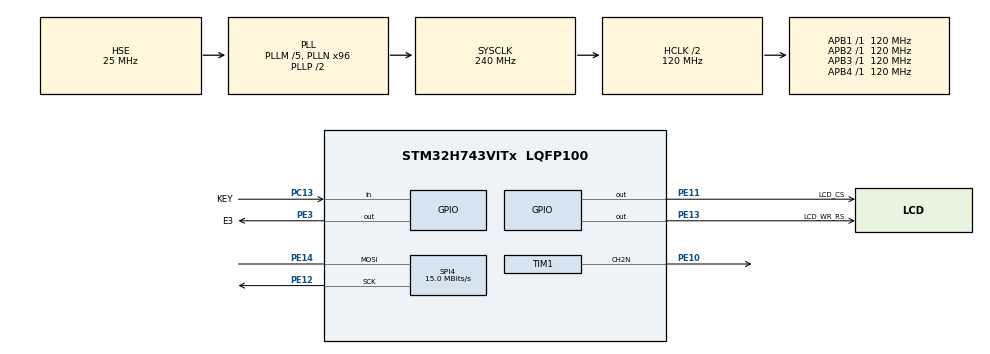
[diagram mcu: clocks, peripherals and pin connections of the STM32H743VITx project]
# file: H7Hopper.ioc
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Mcu.Family=STM32H7
Mcu.Name=STM32H743VITx
Mcu.Package=LQFP100
NVIC.PriorityGroup=NVIC_PRIORITYGROUP_4
PA13\ (JTMS/SWDIO).Mode=Serial_Wire
PA13\ (JTMS/SWDIO).Signal=DEBUG_JTMS-SWDIO
PA14\ (JTCK/SWCLK).Mode=Serial_Wire
PA14\ (JTCK/SWCLK).Signal=DEBUG_JTCK-SWCLK
PC13.GPIO_Label=KEY
PC13.GPIO_PuPd=GPIO_PULLDOWN
PC13.Signal=GPIO_Input
PC14-OSC32_IN\ (OSC32_IN).Mode=LSE-External-Oscillator
PC14-OSC32_IN\ (OSC32_IN).Signal=RCC_OSC32_IN
PC15-OSC32_OUT\ (OSC32_OUT).Mode=LSE-External-Oscillator
PC15-OSC32_OUT\ (OSC32_OUT).Signal=RCC_OSC32_OUT
PE10.Mode=PWM Generation2 CH2N
PE10.Signal=TIM1_CH2N
PE11.GPIO_Label=LCD_CS
PE11.GPIO_Speed=GPIO_SPEED_FREQ_VERY_HIGH
PE11.PinState=GPIO_PIN_SET
PE11.Signal=GPIO_Output
PE12.GPIO_Speed=GPIO_SPEED_FREQ_HIGH
PE12.Mode=Simplex_Bidirectional_Master
PE12.Signal=SPI4_SCK
PE13.GPIO_Label=LCD_WR_RS
PE13.GPIO_Speed=GPIO_SPEED_FREQ_VERY_HIGH
PE13.PinState=GPIO_PIN_SET
PE13.Signal=GPIO_Output
PE14.GPIO_Speed=GPIO_SPEED_FREQ_HIGH
PE14.Mode=Simplex_Bidirectional_Master
PE14.Signal=SPI4_MOSI
PE3.GPIO_Label=E3
PE3.PinState=GPIO_PIN_RESET
PE3.Signal=GPIO_Output
PH0-OSC_IN\ (PH0).Mode=HSE-External-Oscillator
PH0-OSC_IN\ (PH0).Signal=RCC_OSC_IN
PH1-OSC_OUT\ (PH1).Mode=HSE-External-Oscillator
PH1-OSC_OUT\ (PH1).Signal=RCC_OSC_OUT
ProjectManager.HeapSize=0x200
ProjectManager.StackSize=0x400
ProjectManager.TargetToolchain=STM32CubeIDE
RCC.ADCFreq_Value=83333333.33333333
RCC.APB1Freq_Value=120000000
RCC.APB2Freq_Value=120000000
RCC.APB3Freq_Value=120000000
RCC.APB4Freq_Value=120000000
RCC.CortexFreq_Value=240000000
RCC.DIVM1=5
RCC.DIVM2=6
RCC.DIVN1=96
RCC.DIVN2=40
RCC.DIVQ2=1
RCC.HCLKFreq_Value=120000000
RCC.HPRE=RCC_HCLK_DIV2
RCC.HSE_VALUE=25000000
RCC.PLLFRACN=0
RCC.PLLSourceVirtual=RCC_PLLSOURCE_HSE
RCC.PWR_Regulator_Voltage_Scale=PWR_REGULATOR_VOLTAGE_SCALE0
RCC.RTCClockSelection=RCC_RTCCLKSOURCE_LSE
RCC.SYSCLKFreq_VALUE=240000000
RCC.SYSCLKSource=RCC_SYSCLKSOURCE_PLLCLK
RCC.USBFreq_Value=240000000
RTC.Hours=12
RTC.Month=RTC_MONTH_JUNE
RTC.Year=20
SPI4.BaudRatePrescaler=SPI_BAUDRATEPRESCALER_8
SPI4.CalculateBaudRate=15.0 MBits/s
SPI4.DataSize=SPI_DATASIZE_8BIT
SPI4.Direction=SPI_DIRECTION_1LINE
SPI4.Mode=SPI_MODE_MASTER
SPI4.VirtualType=VM_MASTER
TIM1.Channel-PWM\ Generation2\ CH2N=TIM_CHANNEL_2
TIM1.OCNPolarity_2=TIM_OCNPOLARITY_LOW
TIM1.Period=1000-1
TIM1.Prescaler=12-1
VP_MEMORYMAP_VS_MEMORYMAP.Mode=CurAppReg
VP_RTC_VS_RTC_Activate.Mode=RTC_Enabled
VP_RTC_VS_RTC_Calendar.Mode=RTC_Calendar
board=custom

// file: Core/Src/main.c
/* USER CODE BEGIN Header */
/**
  ******************************************************************************
  * @file           : main.c
  * @brief          : Main program body
  ******************************************************************************
  * @attention
  *
  * <h2><center>&copy; Copyright (c) 2020 STMicroelectronics.
  * All rights reserved.</center></h2>
  *
  * This software component is licensed by ST under BSD 3-Clause license,
  * the "License"; You may not use this file except in compliance with the
  * License. You may obtain a copy of the License at:
  *                        opensource.org/licenses/BSD-3-Clause
  *
  ******************************************************************************
  */
/* USER CODE END Header */
#include "main.h"
#include "memorymap.h"
#include "rtc.h"
#include "spi.h"
#include "tim.h"
#include "gpio.h"

/* USER CODE BEGIN Includes */
#include "lcd.h"
/* USER CODE END Includes */

/* USER CODE BEGIN PV */

uint16_t foxX = 20;        // Fixed X position for fox
uint16_t foxY =65;        // Y position (ground position)
int8_t foxVelocityY = 0;   // Vertical velocity (for jumping)
uint8_t isJumping = 0;     // Jump state
uint16_t groundLevel = 75; // Ground level position

// Background variables
uint16_t bgOffset = 0;     // Background scroll offset
uint8_t treePositions[5] = {20, 60, 100, 150, 200}; // X positions of trees
uint8_t scrollSpeed = 2;   // Pixels per frame to scroll
uint32_t lastUpdateTime = 0; // For timing control

#define MAX_VISIBLE_OBSTACLES 20  // Increased buffer size
uint16_t obstaclePosX[MAX_VISIBLE_OBSTACLES]; // X positions of obstacles
uint8_t obstacleActive[MAX_VISIBLE_OBSTACLES]; // Whether each obstacle is active
uint32_t lastObstacleTime = 0; // Time when last obstacle was spawned
uint32_t obstacleInterval = 1500; // Spawn interval in milliseconds (1.5 seconds)
uint8_t nextObstacleIndex = 0; // Index for circular buffer

/* USER CODE END PV */

void SystemClock_Config(void);

/* USER CODE BEGIN 0 */
static void MPU_Config(void)
{
  MPU_Region_InitTypeDef MPU_InitStruct = {0};

  /* Disables the MPU */
  HAL_MPU_Disable();

	/* Configure the MPU attributes for the QSPI 256MB without instruction access */
  MPU_InitStruct.Enable           = MPU_REGION_ENABLE;
  MPU_InitStruct.Number           = MPU_REGION_NUMBER0;
  MPU_InitStruct.BaseAddress      = QSPI_BASE;
  MPU_InitStruct.Size             = MPU_REGION_SIZE_256MB;
  MPU_InitStruct.AccessPermission = MPU_REGION_NO_ACCESS;
  MPU_InitStruct.IsBufferable     = MPU_ACCESS_NOT_BUFFERABLE;
  MPU_InitStruct.IsCacheable      = MPU_ACCESS_NOT_CACHEABLE;
  MPU_InitStruct.IsShareable      = MPU_ACCESS_NOT_SHAREABLE;
  MPU_InitStruct.DisableExec      = MPU_INSTRUCTION_ACCESS_DISABLE;
  MPU_InitStruct.TypeExtField     = MPU_TEX_LEVEL1;
  MPU_InitStruct.SubRegionDisable = 0x00;
  HAL_MPU_ConfigRegion(&MPU_InitStruct);

  /* Configure the MPU attributes for the QSPI 8MB (QSPI Flash Size) to Cacheable WT */
  MPU_InitStruct.Enable           = MPU_REGION_ENABLE;
  MPU_InitStruct.Number           = MPU_REGION_NUMBER1;
  MPU_InitStruct.BaseAddress      = QSPI_BASE;
  MPU_InitStruct.Size             = MPU_REGION_SIZE_8MB;
  MPU_InitStruct.AccessPermission = MPU_REGION_PRIV_RO;
  MPU_InitStruct.IsBufferable     = MPU_ACCESS_BUFFERABLE;
  MPU_InitStruct.IsCacheable      = MPU_ACCESS_CACHEABLE;
  MPU_InitStruct.IsShareable      = MPU_ACCESS_NOT_SHAREABLE;
  MPU_InitStruct.DisableExec      = MPU_INSTRUCTION_ACCESS_ENABLE;
  MPU_InitStruct.TypeExtField     = MPU_TEX_LEVEL1;
  MPU_InitStruct.SubRegionDisable = 0x00;
  HAL_MPU_ConfigRegion(&MPU_InitStruct);

  /* Enables the MPU */
  HAL_MPU_Enable(MPU_PRIVILEGED_DEFAULT);
}

static void CPU_CACHE_Enable(void)
{
  /* Enable I-Cache */
  SCB_EnableICache();

  /* Enable D-Cache */
  SCB_EnableDCache();
}

static void LED_Blink(uint32_t Hdelay,uint32_t Ldelay)
{
	HAL_GPIO_WritePin(E3_GPIO_Port,E3_Pin,GPIO_PIN_SET);
	HAL_Delay(Hdelay - 1);
	HAL_GPIO_WritePin(E3_GPIO_Port,E3_Pin,GPIO_PIN_RESET);
	HAL_Delay(Ldelay-1);
}

/**
  * @brief  Get the current time and date.
  * @param
  * @retval None
  */
static void RTC_CalendarShow(RTC_DateTypeDef *sdatestructureget,RTC_TimeTypeDef *stimestructureget)
{
  /* ����ͬʱ��ȡʱ������� ��Ȼ�ᵼ���´�RTC���ܶ�ȡ */
  /* Both time and date must be obtained or RTC cannot be read next time */
  /* Get the RTC current Time */
  HAL_RTC_GetTime(&hrtc, stimestructureget, RTC_FORMAT_BIN);
  /* Get the RTC current Date */
  HAL_RTC_GetDate(&hrtc, sdatestructureget, RTC_FORMAT_BIN);
}

/* USER CODE END 0 */

int main(void)
{

  /* USER CODE BEGIN 1 */

  #ifdef W25Qxx
    SCB->VTOR = QSPI_BASE;
  #endif
  MPU_Config();
  CPU_CACHE_Enable();

  /* USER CODE END 1 */

  /* MCU Configuration--------------------------------------------------------*/

  /* Reset of all peripherals, Initializes the Flash interface and the Systick. */
  HAL_Init();

  /* Configure the system clock */
  SystemClock_Config();

  /* Initialize all configured peripherals */
  MX_GPIO_Init();
  MX_RTC_Init();
  MX_SPI4_Init();
  MX_TIM1_Init();
  /* USER CODE BEGIN 2 */
//	HAL_TIMEx_PWMN_Start(&htim1,TIM_CHANNEL_2);
//	__HAL_TIM_SetCompare(&htim1,TIM_CHANNEL_2,10);
	LCD_Test();
  InitScene();
  InitObstacles();

  bgOffset = 0;
  scrollSpeed = 2; // Ensure this is not zero
  /* USER CODE END 2 */

  /* Infinite loop */
  while (1)
  {

    /* USER CODE BEGIN 3 */
    UpdatePhysics();

    // Force update background (ensure it's moving)
    ForceUpdateBackground();
    UpdateObstacles(); // Update obstacles

    // Update scene with new positions
    UpdateScene();
  }
  /* USER CODE END 3 */
}

void SystemClock_Config(void)
{
  RCC_OscInitTypeDef RCC_OscInitStruct = {0};
  RCC_ClkInitTypeDef RCC_ClkInitStruct = {0};

  /** Supply configuration update enable
  */
  HAL_PWREx_ConfigSupply(PWR_LDO_SUPPLY);

  /** Configure the main internal regulator output voltage
  */
  __HAL_PWR_VOLTAGESCALING_CONFIG(PWR_REGULATOR_VOLTAGE_SCALE0);

  while(!__HAL_PWR_GET_FLAG(PWR_FLAG_VOSRDY)) {}

  /** Configure LSE Drive Capability
  */
  HAL_PWR_EnableBkUpAccess();
  __HAL_RCC_LSEDRIVE_CONFIG(RCC_LSEDRIVE_LOW);

  /** Initializes the RCC Oscillators according to the specified parameters
  * in the RCC_OscInitTypeDef structure.
  */
  RCC_OscInitStruct.OscillatorType = RCC_OSCILLATORTYPE_HSE|RCC_OSCILLATORTYPE_LSE;
  RCC_OscInitStruct.HSEState = RCC_HSE_ON;
  RCC_OscInitStruct.LSEState = RCC_LSE_ON;
  RCC_OscInitStruct.PLL.PLLState = RCC_PLL_ON;
  RCC_OscInitStruct.PLL.PLLSource = RCC_PLLSOURCE_HSE;
  RCC_OscInitStruct.PLL.PLLM = 5;
  RCC_OscInitStruct.PLL.PLLN = 96;
  RCC_OscInitStruct.PLL.PLLP = 2;
  RCC_OscInitStruct.PLL.PLLQ = 2;
  RCC_OscInitStruct.PLL.PLLR = 2;
  RCC_OscInitStruct.PLL.PLLRGE = RCC_PLL1VCIRANGE_2;
  RCC_OscInitStruct.PLL.PLLVCOSEL = RCC_PLL1VCOWIDE;
  RCC_OscInitStruct.PLL.PLLFRACN = 0;
  if (HAL_RCC_OscConfig(&RCC_OscInitStruct) != HAL_OK)
  {
    Error_Handler();
  }

  /** Initializes the CPU, AHB and APB buses clocks
  */
  RCC_ClkInitStruct.ClockType = RCC_CLOCKTYPE_HCLK|RCC_CLOCKTYPE_SYSCLK
                              |RCC_CLOCKTYPE_PCLK1|RCC_CLOCKTYPE_PCLK2
                              |RCC_CLOCKTYPE_D3PCLK1|RCC_CLOCKTYPE_D1PCLK1;
  RCC_ClkInitStruct.SYSCLKSource = RCC_SYSCLKSOURCE_PLLCLK;
  RCC_ClkInitStruct.SYSCLKDivider = RCC_SYSCLK_DIV1;
  RCC_ClkInitStruct.AHBCLKDivider = RCC_HCLK_DIV2;
  RCC_ClkInitStruct.APB3CLKDivider = RCC_APB3_DIV1;
  RCC_ClkInitStruct.APB1CLKDivider = RCC_APB1_DIV1;
  RCC_ClkInitStruct.APB2CLKDivider = RCC_APB2_DIV1;
  RCC_ClkInitStruct.APB4CLKDivider = RCC_APB4_DIV1;

  if (HAL_RCC_ClockConfig(&RCC_ClkInitStruct, FLASH_LATENCY_1) != HAL_OK)
  {
    Error_Handler();
  }
}

/* USER CODE BEGIN 4 */
void DrawFox(uint16_t x, uint16_t y) {
  // Main body
  ST7735_LCD_Driver.FillRect(&st7735_pObj, x, y, 16, 10, BROWN);

  // Head
  ST7735_LCD_Driver.FillRect(&st7735_pObj, x + 10, y - 6, 10, 10, BROWN);

  // Eyes
  ST7735_LCD_Driver.FillRect(&st7735_pObj, x + 14, y - 4, 2, 2, WHITE);
  ST7735_LCD_Driver.FillRect(&st7735_pObj, x + 18, y - 4, 2, 2, WHITE);

  // Ears
  ST7735_LCD_Driver.FillRect(&st7735_pObj, x + 10, y - 10, 3, 4, BROWN);
  ST7735_LCD_Driver.FillRect(&st7735_pObj, x + 17, y - 10, 3, 4, BROWN);

  // Tail
  ST7735_LCD_Driver.FillRect(&st7735_pObj, x - 5, y + 2, 5, 4, BROWN);

  // Legs (attached to body's current position)
  ST7735_LCD_Driver.FillRect(&st7735_pObj, x + 2, y + 10, 2, 5, BROWN);
  ST7735_LCD_Driver.FillRect(&st7735_pObj, x + 12, y + 10, 2, 5, BROWN);
}

void DrawTree(uint16_t x, uint16_t y) {
  // Tree trunk
  ST7735_LCD_Driver.FillRect(&st7735_pObj, x - 1, y - 20, 3, 20, BROWN);

  // Tree foliage (simple triangle shape made of rectangles)
  ST7735_LCD_Driver.FillRect(&st7735_pObj, x - 6, y - 30, 13, 5, GREEN);
  ST7735_LCD_Driver.FillRect(&st7735_pObj, x - 5, y - 35, 11, 5, GREEN);
  ST7735_LCD_Driver.FillRect(&st7735_pObj, x - 4, y - 40, 9, 5, GREEN);
  ST7735_LCD_Driver.FillRect(&st7735_pObj, x - 3, y - 45, 7, 5, GREEN);
  ST7735_LCD_Driver.FillRect(&st7735_pObj, x - 2, y - 50, 5, 5, GREEN);
}

// Draw the scene (background, ground, fox, text)
void DrawScene(void) {
  uint8_t text[20];
  uint8_t i;

  // Clear the screen
  ST7735_LCD_Driver.FillRect(&st7735_pObj, 0, 0, ST7735Ctx.Width, ST7735Ctx.Height, LIGHTBLUE); // Sky

  // Draw scrolling trees
  for (i = 0; i < 5; i++) {
      // Calculate actual X position with scroll offset
      int16_t treeX = (treePositions[i] - bgOffset) % ST7735Ctx.Width;

      if (treeX < 0) {
          treeX += ST7735Ctx.Width;
      }

      DrawTree(treeX, groundLevel);
  }

  ST7735_LCD_Driver.FillRect(&st7735_pObj, 0, groundLevel, ST7735Ctx.Width, ST7735Ctx.Height - groundLevel, GREEN); // Grassy ground
  ST7735_LCD_Driver.DrawHLine(&st7735_pObj, 0, groundLevel, ST7735Ctx.Width, BROWN); // Ground line

  // Draw the fox at its fixed position (but varying height if jumping)
  DrawFox(foxX, foxY);

}

void UpdateBackground(void) {
  // Increase background offset
  bgOffset += scrollSpeed;

  // Handle wrapping (if we've scrolled past the screen width)
  if (bgOffset >= ST7735Ctx.Width) {
      bgOffset = 0;
  }
}

void ForceUpdateBackground(void) {
  // Always update the background offset
  bgOffset += scrollSpeed;

  // Create a very small delay to ensure timing is consistent
  HAL_Delay(5);
}

void UpdateScene(void) {
  uint8_t i;

  // Always clear the entire sky area
  ST7735_LCD_Driver.FillRect(&st7735_pObj, 0, 0, ST7735Ctx.Width, groundLevel, LIGHTBLUE);

  // Draw trees in their new positions
  for (i = 0; i < 5; i++) {
    int16_t treeX = (treePositions[i] - bgOffset) % ST7735Ctx.Width;
    if (treeX < 0) {
      treeX += ST7735Ctx.Width;
    }
    DrawTree(treeX, groundLevel);
  }

  // Redraw the ground
  ST7735_LCD_Driver.FillRect(&st7735_pObj, 0, groundLevel, ST7735Ctx.Width,
                           ST7735Ctx.Height - groundLevel, GREEN);
  ST7735_LCD_Driver.DrawHLine(&st7735_pObj, 0, groundLevel, ST7735Ctx.Width, BROWN);

  // Draw obstacles
  DrawObstacles();

  // Draw fox with current position
  DrawFox(foxX, foxY);
}

// Check input and start jump if needed
void CheckInput(void) {
  // Check if KEY button is pressed and fox is not already jumping
  if (HAL_GPIO_ReadPin(KEY_GPIO_Port, KEY_Pin) == GPIO_PIN_SET && !isJumping) {
      isJumping = 1;
      foxVelocityY = -8; // Negative velocity for upward movement
  }
}

void InitScene(void) {
  uint8_t text[20];

  // Clear the entire screen once
  ST7735_LCD_Driver.FillRect(&st7735_pObj, 0, 0, ST7735Ctx.Width, ST7735Ctx.Height, LIGHTBLUE); // Sky

  // Initial ground drawing
  ST7735_LCD_Driver.FillRect(&st7735_pObj, 0, groundLevel, ST7735Ctx.Width, ST7735Ctx.Height - groundLevel, GREEN);
  ST7735_LCD_Driver.DrawHLine(&st7735_pObj, 0, groundLevel, ST7735Ctx.Width, BROWN);
}

// Update fox position based on physics
void UpdatePhysics(void) {
  // Check if KEY button is pressed and fox is not already jumping
  if (HAL_GPIO_ReadPin(KEY_GPIO_Port, KEY_Pin) == GPIO_PIN_SET && !isJumping) {
      isJumping = 1;
      foxVelocityY = -8; // Negative velocity for upward movement
  }

  // Only update if fox is jumping
  if (isJumping) {
      // Update position based on velocity
      foxY += foxVelocityY;

      // Apply gravity
      foxVelocityY += 1;

      // Check if back on ground
      if (foxY >= 65) {
          foxY = 65;          // Reset to ground position
          foxVelocityY = 0;   // Stop vertical movement
          isJumping = 0;      // No longer jumping
      }
  }
}

void DrawBush(uint16_t x, uint16_t y) {
  // Bush base - positioned to be on ground level with height aligned with fox
  ST7735_LCD_Driver.FillRect(&st7735_pObj, x, y - 5, 16, 15, BRRED);

  // Bush top (rounded effect with smaller rectangles)
  ST7735_LCD_Driver.FillRect(&st7735_pObj, x + 2, y - 9, 12, 4, GREEN);
  ST7735_LCD_Driver.FillRect(&st7735_pObj, x + 4, y - 11, 8, 2, GREEN);

  // Bush details
  ST7735_LCD_Driver.FillRect(&st7735_pObj, x + 7, y - 13, 2, 2, RED); // A little flower/berry
}

// Initialize obstacle system
void InitObstacles() {
  for (int i = 0; i < MAX_VISIBLE_OBSTACLES; i++) {
    obstacleActive[i] = 0;
    obstaclePosX[i] = 0;
  }
  nextObstacleIndex = 0;
  lastObstacleTime = HAL_GetTick();
}

// Update and manage obstacles
void UpdateObstacles() {
  uint32_t currentTime = HAL_GetTick();

  // Spawn new obstacle every obstacleInterval milliseconds
  if (currentTime - lastObstacleTime > obstacleInterval) {
    // Always create a new obstacle using circular buffer
    obstacleActive[nextObstacleIndex] = 1;
    obstaclePosX[nextObstacleIndex] = ST7735Ctx.Width; // Start from right edge

    // Move to next buffer position (circular)
    nextObstacleIndex = (nextObstacleIndex + 1) % MAX_VISIBLE_OBSTACLES;

    // Update spawn timer
    lastObstacleTime = currentTime;
  }

  // Update obstacle positions and check collisions
  for (int i = 0; i < MAX_VISIBLE_OBSTACLES; i++) {
    if (obstacleActive[i]) {
      // Move obstacle to the left
      obstaclePosX[i] -= scrollSpeed;

      // Check if obstacle is off screen
      if (obstaclePosX[i] < -20) {
        obstacleActive[i] = 0; // Deactivate
      }

      // Check collision with fox
      if (obstaclePosX[i] > foxX - 15 && obstaclePosX[i] < foxX + 20) {
        // Vertical collision check - if fox is not jumping high enough
        if (foxY > groundLevel - 20) {
          // Collision detected!
          // gameOver = 1; // Uncomment this to implement game over
        }
      }
    }
  }
}

// Draw all active obstacles
void DrawObstacles() {
  for (int i = 0; i < MAX_VISIBLE_OBSTACLES; i++) {
    if (obstacleActive[i]) {
      DrawBush(obstaclePosX[i], groundLevel);
    }
  }
}

/* USER CODE END 4 */

void Error_Handler(void)
{
  /* USER CODE BEGIN Error_Handler_Debug */
  /* User can add his own implementation to report the HAL error return state */
  LED_Blink(500,500);
  /* USER CODE END Error_Handler_Debug */
}
